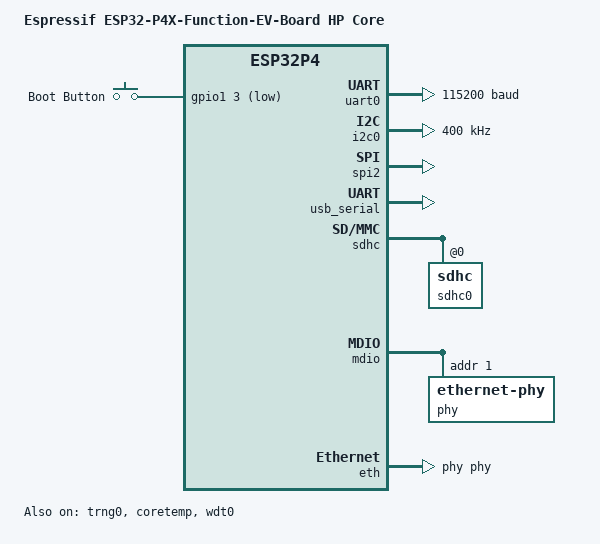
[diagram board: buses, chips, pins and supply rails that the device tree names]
/*
 * Copyright (c) 2026 Espressif Systems (Shanghai) Co., Ltd.
 *
 * SPDX-License-Identifier: Apache-2.0
 */

/dts-v1/;

#include <espressif/esp32p4/esp32p4_n16r8.dtsi>
#include "esp32p4x_function_ev_board_hpcore-pinctrl.dtsi"
#include <zephyr/dt-bindings/input/input-event-codes.h>
#include <espressif/partitions_0x2000_default_16M.dtsi>

/ {
	model = "Espressif ESP32-P4X-Function-EV-Board HP Core";
	compatible = "espressif,esp32p4";

	chosen {
		zephyr,sram = &sramhp;
		zephyr,console = &usb_serial;
		zephyr,shell-uart = &usb_serial;
		zephyr,flash = &flash0;
		zephyr,code-partition = &slot0_partition;
	};

	aliases {
		sw0 = &boot_button;
		watchdog0 = &wdt0;
		sdhc0 = &sdhc0;
	};

	gpio_keys {
		compatible = "gpio-keys";

		boot_button: button {
			label = "Boot Button";
			gpios = <&gpio1 3 (GPIO_PULL_UP | GPIO_ACTIVE_LOW)>;
			zephyr,code = <INPUT_KEY_0>;
		};
	};
};

/*
 * This board carries v3.1 ESP32-P4 silicon, whose valid CPU frequencies
 * are 100/200/400 MHz. Using a frequency outside that set builds but
 * fails at boot with "invalid CPU frequency".
 */
&cpu0 {
	clock-frequency = <DT_FREQ_M(400)>;
};

&cpu1 {
	clock-frequency = <DT_FREQ_M(400)>;
};

&uart0 {
	status = "okay";
	current-speed = <115200>;
	pinctrl-0 = <&uart0_default>;
	pinctrl-names = "default";
};

&trng0 {
	status = "okay";
};

&coretemp {
	status = "okay";
};

&i2c0 {
	status = "okay";
	clock-frequency = <I2C_BITRATE_FAST>;
	pinctrl-0 = <&i2c0_default>;
	pinctrl-names = "default";
};

&spi2 {
	#address-cells = <1>;
	#size-cells = <0>;
	status = "okay";
	pinctrl-0 = <&spim2_default>;
	pinctrl-names = "default";
};

&usb_serial {
	status = "okay";
};

&gpio0 {
	status = "okay";
};

&wdt0 {
	status = "okay";
};

&dma {
	status = "okay";
};

&dma_axi {
	status = "okay";
};

&ldo {
	status = "okay";

	ldo1@1 {
		regulator-init-microvolt = <3300000>;
		regulator-boot-on;
		regulator-always-on;
	};

	ldo2@2 {
		regulator-init-microvolt = <1800000>;
		regulator-boot-on;
		regulator-always-on;
	};

	ldo4@4 {
		regulator-init-microvolt = <3300000>;
		regulator-boot-on;
		regulator-always-on;
	};
};

&sdhc {
	sdhc0: sdhc@0 {
		status = "okay";
		bus-width = <4>;
		max-bus-freq = <40000000>;
		clk-pin = <43>;
		cmd-pin = <44>;
		d0-pin = <39>;
		d1-pin = <40>;
		d2-pin = <41>;
		d3-pin = <42>;

		mmc {
			compatible = "zephyr,sdmmc-disk";
			disk-name = "SD";
			status = "okay";
		};
	};
};

&mdio {
	pinctrl-0 = <&mdio_default>;
	pinctrl-names = "default";
	status = "okay";

	phy: ethernet-phy@1 {
		compatible = "ethernet-phy";
		reg = <1>;
	};
};

&eth {
	status = "okay";
	phy-handle = <&phy>;
	pinctrl-0 = <&rmii_default>;
	pinctrl-names = "default";
};
